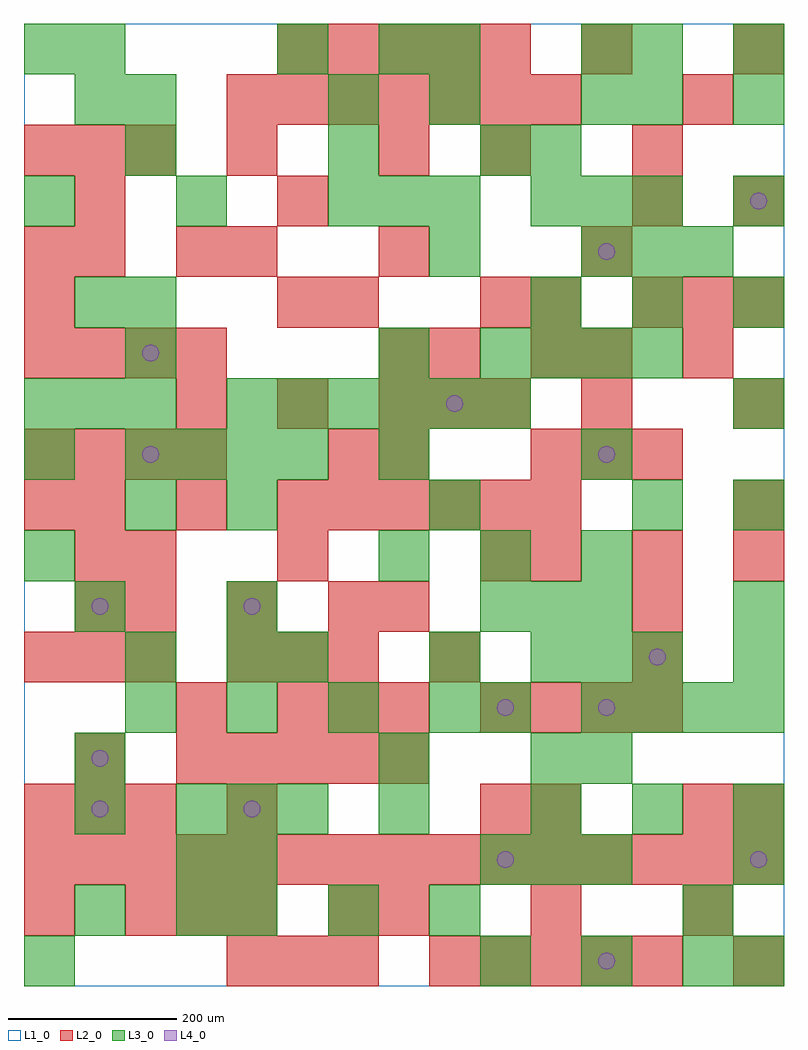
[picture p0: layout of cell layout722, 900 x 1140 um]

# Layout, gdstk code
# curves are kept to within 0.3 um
import gdstk
lib = gdstk.Library(unit=1e-6, precision=1e-09)
def R(c, l, rs):  # rectangles x0, y0, x1, y1
    for r in rs: c.add(gdstk.rectangle(r[:2], r[2:], *l))
def A(c, l, x, y, w, h, nx, ny, dx, dy):  # array of equal rectangles
    R(c, l, [(x+i*dx, y+j*dy, x+i*dx+w, y+j*dy+h) for i in range(nx) for j in range(ny)])
def P(c, l, *ps):  # polygons
    for p in ps: c.add(gdstk.Polygon(p, *l))
L1_0 = (1, 0)
L2_0 = (2, 0)
L3_0 = (3, 0)
L4_0 = (4, 0)

layout722 = lib.new_cell('layout722')
R(layout722, L1_0, [(0,0,900,1140)])
A(layout722, L2_0, 240, 0, 60, 60, 3, 2, 60, 360)
A(layout722, L2_0, 480, 0, 60, 60, 5, 1, 60, 0)
A(layout722, L2_0, 120, 60, 60, 60, 3, 1, 60, 0)
A(layout722, L2_0, 420, 60, 60, 60, 3, 1, 180, 0)
A(layout722, L2_0, 0, 120, 60, 60, 15, 1, 60, 0)
A(layout722, L2_0, 0, 180, 60, 60, 3, 2, 60, 180)
A(layout722, L2_0, 180, 240, 60, 60, 5, 1, 60, 0)
A(layout722, L2_0, 300, 300, 60, 60, 3, 1, 60, 0)
A(layout722, L2_0, 540, 300, 60, 60, 4, 1, 60, 0)
A(layout722, L2_0, 120, 420, 60, 60, 3, 1, 120, 0)
A(layout722, L2_0, 600, 480, 60, 60, 3, 1, 120, 0)
A(layout722, L2_0, 60, 540, 60, 60, 3, 1, 120, 0)
A(layout722, L2_0, 360, 540, 60, 60, 5, 1, 60, 0)
A(layout722, L2_0, 0, 600, 60, 60, 4, 2, 60, 120)
A(layout722, L2_0, 420, 600, 60, 60, 1, 4, 0, 120)
A(layout722, L2_0, 600, 600, 60, 60, 3, 1, 60, 0)
A(layout722, L2_0, 180, 660, 60, 60, 3, 1, 120, 0)
A(layout722, L2_0, 720, 780, 60, 60, 3, 1, 60, 0)
A(layout722, L2_0, 0, 960, 60, 60, 3, 1, 60, 0)
A(layout722, L2_0, 240, 1020, 60, 60, 7, 1, 60, 0)
A(layout722, L2_0, 300, 1080, 60, 60, 5, 1, 60, 0)
R(layout722, L2_0, [(840,0,900,60), (0,60,60,120), (360,60,420,120), (240,180,300,240), (540,180,600,240), (600,180,660,240), (780,180,840,240), (840,180,900,240), (60,240,120,300), (180,300,240,360), (480,360,540,420), (720,360,780,420), (60,420,120,480), (420,420,480,480), (720,420,780,480), (60,480,120,540), (120,480,180,540), (300,480,360,540), (540,480,600,540), (0,540,60,600), (840,540,900,600), (360,600,420,660), (480,660,540,720), (540,660,600,720), (660,660,720,720), (840,660,900,720), (480,720,540,780), (600,720,660,780), (660,720,720,780), (780,720,840,780), (0,780,60,840), (300,780,360,840), (360,780,420,840), (540,780,600,840), (600,780,660,840), (0,840,60,900), (60,840,120,900), (180,840,240,900), (240,840,300,900), (660,840,720,900), (60,900,120,960), (300,900,360,960), (720,900,780,960), (840,900,900,960), (240,960,300,1020), (540,960,600,1020), (720,960,780,1020), (780,1020,840,1080), (660,1080,720,1140), (840,1080,900,1140)])
A(layout722, L3_0, 540, 0, 60, 60, 3, 1, 120, 0)
A(layout722, L3_0, 240, 60, 60, 60, 3, 1, 120, 0)
A(layout722, L3_0, 540, 120, 60, 60, 3, 2, 60, 300)
A(layout722, L3_0, 180, 180, 60, 60, 3, 1, 60, 0)
A(layout722, L3_0, 600, 180, 60, 60, 3, 2, 120, 600)
A(layout722, L3_0, 120, 300, 60, 60, 4, 1, 120, 0)
A(layout722, L3_0, 660, 300, 60, 60, 4, 1, 60, 0)
A(layout722, L3_0, 120, 360, 60, 60, 1, 3, 0, 180)
A(layout722, L3_0, 600, 360, 60, 60, 3, 2, 60, 540)
A(layout722, L3_0, 840, 420, 60, 60, 1, 3, 0, 120)
A(layout722, L3_0, 420, 480, 60, 60, 3, 1, 120, 0)
A(layout722, L3_0, 240, 540, 60, 60, 3, 1, 240, 0)
A(layout722, L3_0, 120, 600, 60, 60, 4, 1, 60, 0)
A(layout722, L3_0, 0, 660, 60, 60, 3, 1, 60, 0)
A(layout722, L3_0, 240, 660, 60, 60, 6, 1, 60, 0)
A(layout722, L3_0, 420, 720, 60, 60, 1, 3, 0, 180)
A(layout722, L3_0, 540, 720, 60, 60, 4, 1, 60, 0)
A(layout722, L3_0, 660, 840, 60, 60, 3, 1, 60, 0)
A(layout722, L3_0, 0, 900, 60, 60, 3, 1, 180, 0)
R(layout722, L3_0, [(0,0,60,60), (840,0,900,60), (60,60,120,120), (180,60,240,120), (780,60,840,120), (180,120,240,180), (240,120,300,180), (840,120,900,180), (60,180,120,240), (420,180,480,240), (60,240,120,300), (420,240,480,300), (600,240,660,300), (660,240,720,300), (540,300,600,360), (240,360,300,420), (300,360,360,420), (480,360,540,420), (840,360,900,420), (60,420,120,480), (240,420,300,480), (0,480,60,540), (0,600,60,660), (420,600,480,660), (660,600,720,660), (60,780,120,840), (120,780,180,840), (480,840,540,900), (480,900,540,960), (840,900,900,960), (120,960,180,1020), (360,960,420,1020), (540,960,600,1020), (600,960,660,1020), (60,1020,120,1080), (120,1020,180,1080), (360,1020,420,1080), (480,1020,540,1080), (660,1020,720,1080), (720,1020,780,1080), (840,1020,900,1080), (0,1080,60,1140), (60,1080,120,1140), (300,1080,360,1140), (480,1080,540,1140), (660,1080,720,1140), (720,1080,780,1140), (840,1080,900,1140)])
P(layout722, L4_0, [(100,210),(99.239,213.827),(97.071,217.071),(93.827,219.239),(90,220),(86.173,219.239),(82.929,217.071),(80.761,213.827),(80,210),(80.761,206.173),(82.929,202.929),(86.173,200.761),(90,200),(93.827,200.761),(97.071,202.929),(99.239,206.173)],
  [(100,270),(99.239,273.827),(97.071,277.071),(93.827,279.239),(90,280),(86.173,279.239),(82.929,277.071),(80.761,273.827),(80,270),(80.761,266.173),(82.929,262.929),(86.173,260.761),(90,260),(93.827,260.761),(97.071,262.929),(99.239,266.173)],
  [(100,450),(99.239,453.827),(97.071,457.071),(93.827,459.239),(90,460),(86.173,459.239),(82.929,457.071),(80.761,453.827),(80,450),(80.761,446.173),(82.929,442.929),(86.173,440.761),(90,440),(93.827,440.761),(97.071,442.929),(99.239,446.173)],
  [(160,630),(159.239,633.827),(157.071,637.071),(153.827,639.239),(150,640),(146.173,639.239),(142.929,637.071),(140.761,633.827),(140,630),(140.761,626.173),(142.929,622.929),(146.173,620.761),(150,620),(153.827,620.761),(157.071,622.929),(159.239,626.173)],
  [(160,750),(159.239,753.827),(157.071,757.071),(153.827,759.239),(150,760),(146.173,759.239),(142.929,757.071),(140.761,753.827),(140,750),(140.761,746.173),(142.929,742.929),(146.173,740.761),(150,740),(153.827,740.761),(157.071,742.929),(159.239,746.173)],
  [(280,210),(279.239,213.827),(277.071,217.071),(273.827,219.239),(270,220),(266.173,219.239),(262.929,217.071),(260.761,213.827),(260,210),(260.761,206.173),(262.929,202.929),(266.173,200.761),(270,200),(273.827,200.761),(277.071,202.929),(279.239,206.173)],
  [(280,450),(279.239,453.827),(277.071,457.071),(273.827,459.239),(270,460),(266.173,459.239),(262.929,457.071),(260.761,453.827),(260,450),(260.761,446.173),(262.929,442.929),(266.173,440.761),(270,440),(273.827,440.761),(277.071,442.929),(279.239,446.173)],
  [(520,690),(519.239,693.827),(517.071,697.071),(513.827,699.239),(510,700),(506.173,699.239),(502.929,697.071),(500.761,693.827),(500,690),(500.761,686.173),(502.929,682.929),(506.173,680.761),(510,680),(513.827,680.761),(517.071,682.929),(519.239,686.173)],
  [(580,150),(579.239,153.827),(577.071,157.071),(573.827,159.239),(570,160),(566.173,159.239),(562.929,157.071),(560.761,153.827),(560,150),(560.761,146.173),(562.929,142.929),(566.173,140.761),(570,140),(573.827,140.761),(577.071,142.929),(579.239,146.173)],
  [(580,330),(579.239,333.827),(577.071,337.071),(573.827,339.239),(570,340),(566.173,339.239),(562.929,337.071),(560.761,333.827),(560,330),(560.761,326.173),(562.929,322.929),(566.173,320.761),(570,320),(573.827,320.761),(577.071,322.929),(579.239,326.173)],
  [(700,30),(699.239,33.827),(697.071,37.071),(693.827,39.239),(690,40),(686.173,39.239),(682.929,37.071),(680.761,33.827),(680,30),(680.761,26.173),(682.929,22.929),(686.173,20.761),(690,20),(693.827,20.761),(697.071,22.929),(699.239,26.173)],
  [(700,330),(699.239,333.827),(697.071,337.071),(693.827,339.239),(690,340),(686.173,339.239),(682.929,337.071),(680.761,333.827),(680,330),(680.761,326.173),(682.929,322.929),(686.173,320.761),(690,320),(693.827,320.761),(697.071,322.929),(699.239,326.173)],
  [(700,630),(699.239,633.827),(697.071,637.071),(693.827,639.239),(690,640),(686.173,639.239),(682.929,637.071),(680.761,633.827),(680,630),(680.761,626.173),(682.929,622.929),(686.173,620.761),(690,620),(693.827,620.761),(697.071,622.929),(699.239,626.173)],
  [(700,870),(699.239,873.827),(697.071,877.071),(693.827,879.239),(690,880),(686.173,879.239),(682.929,877.071),(680.761,873.827),(680,870),(680.761,866.173),(682.929,862.929),(686.173,860.761),(690,860),(693.827,860.761),(697.071,862.929),(699.239,866.173)],
  [(760,390),(759.239,393.827),(757.071,397.071),(753.827,399.239),(750,400),(746.173,399.239),(742.929,397.071),(740.761,393.827),(740,390),(740.761,386.173),(742.929,382.929),(746.173,380.761),(750,380),(753.827,380.761),(757.071,382.929),(759.239,386.173)],
  [(880,150),(879.239,153.827),(877.071,157.071),(873.827,159.239),(870,160),(866.173,159.239),(862.929,157.071),(860.761,153.827),(860,150),(860.761,146.173),(862.929,142.929),(866.173,140.761),(870,140),(873.827,140.761),(877.071,142.929),(879.239,146.173)],
  [(880,930),(879.239,933.827),(877.071,937.071),(873.827,939.239),(870,940),(866.173,939.239),(862.929,937.071),(860.761,933.827),(860,930),(860.761,926.173),(862.929,922.929),(866.173,920.761),(870,920),(873.827,920.761),(877.071,922.929),(879.239,926.173)])

lib.write_gds('layout722.gds')
